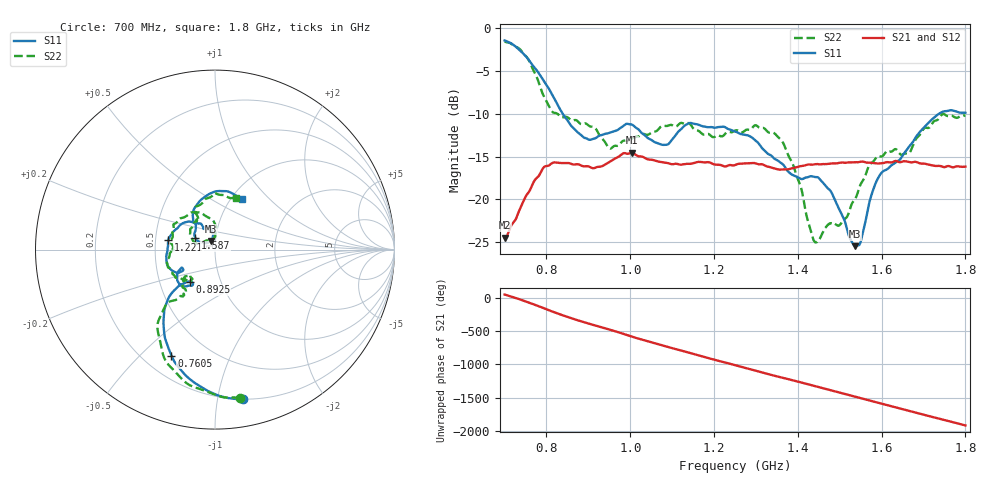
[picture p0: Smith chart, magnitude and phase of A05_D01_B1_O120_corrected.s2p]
! Created with skrf 1.9.0 (http://scikit-rf.org).
# Hz S RI R 50.0
!freq ReS11 ImS11 ReS21 ImS21 ReS12 ImS12 ReS22 ImS22
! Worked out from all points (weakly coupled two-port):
!   1601 points, 700 MHz to 1.8 GHz, reference 50 ohm
!   highest |S21| = -14.56 dB at 1.005 GHz (marker M1); lowest = -24.5 dB at 700.7 MHz (marker M2)
!   lowest |S11| = -25.5 dB at 1.537 GHz (marker M3), VSWR 1.11, Z = 47.6 + j4.61 ohm
!   |S11| at or under -10 dB: 838.7 MHz to 1.736 GHz (897.6 MHz wide, 69.7 % of centre)
!   |S22| runs from -25.0 to -1.5 dB; largest |S21 - S12| = 0.0038
!   S11 on the Smith chart (normalised r, x): 700 MHz: 0.20, -1.19; 760.5 MHz: 0.31, -0.62; 892.5 MHz: 0.71, -0.27; 1.221 GHz: 0.58, +0.07; 1.587 GHz: 0.80, +0.10; 1.8 GHz: 1.12, +0.71
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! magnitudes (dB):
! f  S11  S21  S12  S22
! 700 MHz  -1.4  -24.5  -24.3  -1.5
! 700.7 MHz  -1.4  -24.5  -24.2  -1.6
! 760.5 MHz  -3.9  -18.9  -18.8  -4.0
! 812.8 MHz  -7.7  -15.8  -15.8  -9.7
! 883.6 MHz  -12.5  -16.1  -16.0  -11.2
! 892.5 MHz  -12.8  -16.1  -16.2  -11.1
! 950.9 MHz  -12.2  -15.6  -15.6  -14.1
! 1.005 GHz  -11.3  -14.6  -14.7  -12.9
! 1.067 GHz  -13.5  -15.6  -15.5  -11.8
! 1.141 GHz  -11.1  -15.9  -15.8  -11.1
! 1.221 GHz  -11.5  -16.1  -16.1  -12.6
! 1.25 GHz  -12.1  -16.0  -15.9  -12.0
! 1.361 GHz  -15.8  -16.5  -16.6  -13.1
! 1.405 GHz  -17.6  -16.1  -16.2  -18.2
! 1.434 GHz  -17.3  -16.0  -15.9  -24.2
! 1.479 GHz  -19.1  -15.8  -15.8  -22.8
! 1.537 GHz  -25.5  -15.7  -15.7  -20.0
! 1.587 GHz  -18.0  -15.8  -15.8  -15.1
! 1.617 GHz  -16.3  -15.7  -15.6  -14.4
! 1.664 GHz  -14.0  -15.6  -15.6  -14.7
! 1.735 GHz  -10.0  -16.1  -16.2  -10.6
! 1.8 GHz  -9.9  -16.2  -16.2  -10.3
